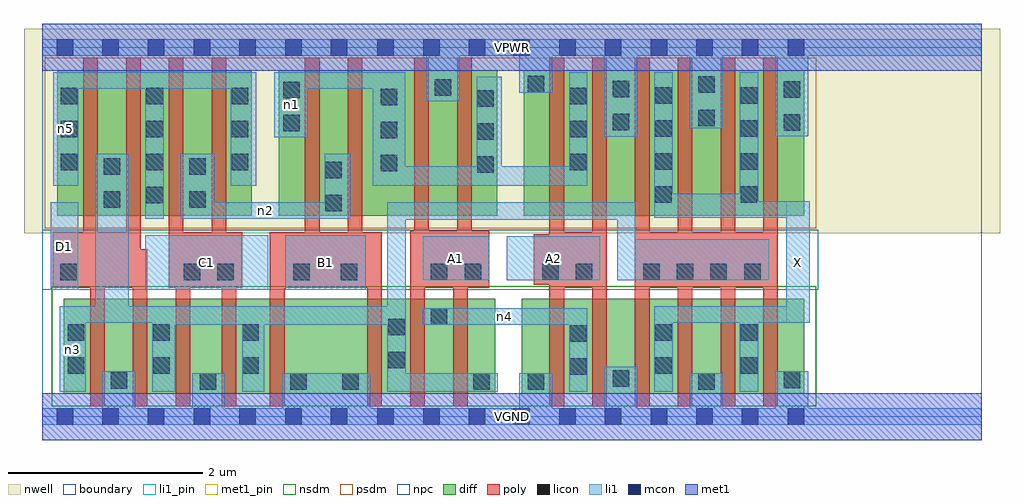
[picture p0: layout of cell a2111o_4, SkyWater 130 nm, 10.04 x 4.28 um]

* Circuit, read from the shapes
.subckt a2111o_4 A1 A2 B1 C1 D1 VGND VPWR X n1 n2 n3 n4 n5
XM1 VGND D1 n3 VSUBS sky130_fd_pr__nfet_01v8 w=0.98 l=0.15 m=2
XM2 VGND C1 n3 VSUBS sky130_fd_pr__nfet_01v8 w=0.98 l=0.15 m=2
XM3 VGND B1 n3 VSUBS sky130_fd_pr__nfet_01v8 w=0.98 l=0.15 m=2
XM4 n4 A1 n3 VSUBS sky130_fd_pr__nfet_01v8 w=0.98 l=0.15 m=2
XM5 n4 A2 VGND VSUBS sky130_fd_pr__nfet_01v8 w=0.98 l=0.15 m=2
XM6 X n3 VGND VSUBS sky130_fd_pr__nfet_01v8 w=0.98 l=0.15 m=4
XM7 n3 D1 n5 n6 sky130_fd_pr__pfet_01v8 w=1.5 l=0.15 m=2
XM8 n2 C1 n5 n6 sky130_fd_pr__pfet_01v8 w=1.5 l=0.15 m=2
XM9 n2 B1 n1 n6 sky130_fd_pr__pfet_01v8 w=1.5 l=0.15 m=2
XM10 VPWR A1 n1 n6 sky130_fd_pr__pfet_01v8 w=1.5 l=0.15 m=2
XM11 n1 A2 VPWR n6 sky130_fd_pr__pfet_01v8 w=1.5 l=0.15 m=2
XM12 X n3 VPWR n6 sky130_fd_pr__pfet_01v8 w=1.5 l=0.15 m=4
.ends

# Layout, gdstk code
import gdstk
lib = gdstk.Library(unit=1e-6, precision=1e-09)
def R(c, l, rs):  # rectangles x0, y0, x1, y1
    for r in rs: c.add(gdstk.rectangle(r[:2], r[2:], *l))
def A(c, l, x, y, w, h, nx, ny, dx, dy):  # array of equal rectangles
    R(c, l, [(x+i*dx, y+j*dy, x+i*dx+w, y+j*dy+h) for i in range(nx) for j in range(ny)])
nwell = (64, 20)
diff = (65, 20)
poly = (66, 20)
licon = (66, 44)
li1_pin = (67, 16)
li1 = (67, 20)
mcon = (67, 44)
met1_pin = (68, 16)
met1 = (68, 20)
nsdm = (93, 44)
psdm = (94, 20)
npc = (95, 20)
boundary = (235, 4)

a2111o_4 = lib.new_cell('a2111o_4')
R(a2111o_4, nwell, [(-0.19,1.885,9.85,3.99), (0,1.885,9.66,3.99)])
R(a2111o_4, diff, [(0.22,0.235,4.66,1.215), (4.93,0.235,7.835,1.215), (0.15,2.065,2.155,3.565), (2.43,2.065,4.68,3.565), (4.95,2.065,7.835,3.565)])
A(a2111o_4, poly, 5.215, 0.105, 0.15, 3.59, 6, 1, 0.44, 0)
A(a2111o_4, poly, 0.42, 1.325, 0.15, 2.37, 4, 1, 0.44, 0)
R(a2111o_4, poly, [(0.49,0.105,0.64,1.905), (0.93,0.105,1.08,1.725), (1.37,0.105,1.52,1.9), (1.845,0.105,1.995,1.9), (2.34,0.105,2.49,1.9), (3.34,0.105,3.49,1.9), (3.785,0.105,3.935,1.915), (4.225,0.105,4.375,1.915), (0.105,1.325,1.01,1.905), (1.3,1.325,2.055,1.9), (2.34,1.325,3.49,1.9), (2.7,1.325,2.85,3.695), (3.14,1.325,3.29,3.695), (3.785,1.325,4.595,1.915), (3.825,1.325,3.975,3.695), (4.265,1.325,4.415,3.695), (5.215,1.325,5.805,1.905), (6.095,1.325,7.565,1.905), (5.055,1.355,5.805,1.875)])
A(a2111o_4, licon, 6.18, 1.405, 0.17, 0.17, 3, 1, 0.345, 0)
A(a2111o_4, licon, 1.07, 2.195, 0.17, 0.17, 1, 4, 0, 0.34)
A(a2111o_4, licon, 6.305, 2.2, 0.17, 0.17, 1, 4, 0, 0.34)
A(a2111o_4, licon, 7.185, 2.2, 0.17, 0.17, 1, 4, 0, 0.34)
A(a2111o_4, licon, 4.47, 2.51, 0.17, 0.17, 1, 3, 0, 0.34)
A(a2111o_4, licon, 3.48, 2.525, 0.17, 0.17, 1, 3, 0, 0.34)
A(a2111o_4, licon, 0.19, 2.535, 0.17, 0.17, 1, 3, 0, 0.34)
A(a2111o_4, licon, 1.945, 2.535, 0.17, 0.17, 1, 3, 0, 0.34)
A(a2111o_4, licon, 5.425, 2.535, 0.17, 0.17, 1, 3, 0, 0.34)
R(a2111o_4, licon, [(1.62,0.275,1.79,0.445), (2.55,0.275,2.72,0.445), (3.085,0.275,3.255,0.445), (4.43,0.275,4.6,0.445), (4.99,0.275,5.16,0.445), (6.745,0.275,6.915,0.445), (0.7,0.285,0.87,0.455), (7.625,0.295,7.795,0.465), (5.865,0.31,6.035,0.48), (5.425,0.43,5.595,0.6), (0.26,0.44,0.43,0.61), (1.14,0.44,1.31,0.61), (2.055,0.44,2.225,0.61), (6.305,0.44,6.475,0.61), (7.185,0.44,7.355,0.61), (3.555,0.5,3.725,0.67), (5.425,0.77,5.595,0.94), (0.26,0.78,0.43,0.95), (1.14,0.78,1.31,0.95), (2.055,0.78,2.225,0.95), (6.305,0.78,6.475,0.95), (7.185,0.78,7.355,0.95), (3.555,0.84,3.725,1.01), (3.995,0.945,4.165,1.115), (0.185,1.405,0.355,1.575), (1.455,1.405,1.625,1.575), (1.8,1.405,1.97,1.575), (2.58,1.405,2.75,1.575), (3.07,1.405,3.24,1.575), (3.995,1.405,4.165,1.575), (4.345,1.405,4.515,1.575), (5.14,1.405,5.31,1.575), (5.485,1.405,5.655,1.575), (7.22,1.405,7.39,1.575), (2.91,2.115,3.08,2.285), (0.63,2.15,0.8,2.32), (1.51,2.15,1.68,2.32), (2.91,2.455,3.08,2.625), (0.63,2.49,0.8,2.66), (1.51,2.49,1.68,2.66), (2.475,2.935,2.645,3.105), (7.625,2.94,7.795,3.11), (5.865,2.945,6.035,3.115), (6.745,2.99,6.915,3.16), (2.475,3.275,2.645,3.445), (7.625,3.28,7.795,3.45), (5.865,3.285,6.035,3.455), (4.035,3.3,4.205,3.47), (6.745,3.33,6.915,3.5), (4.99,3.335,5.16,3.505)])
R(a2111o_4, li1_pin, [(7.65,0.965,7.895,2.215), (0.085,1.305,0.37,2.205), (1.055,1.305,2.32,1.865), (2.5,1.305,3.325,1.865), (3.91,1.405,4.595,1.855), (4.775,1.405,5.74,1.855)])
R(a2111o_4, li1, [(0,-0.085,9.66,0.085), (0.615,-0.085,0.955,0.465), (1.54,-0.085,1.875,0.445), (2.465,-0.085,3.37,0.445), (4.905,-0.085,5.245,0.445), (5.78,-0.085,6.12,0.515), (6.66,-0.085,7,0.445), (7.54,-0.085,7.875,0.465), (0.18,0.255,0.445,1.135), (1.13,0.255,1.365,1.135), (2.055,0.255,2.28,1.135), (3.545,0.255,4.685,0.445), (3.545,0.255,3.735,2.205), (5.42,0.255,5.605,1.115), (6.295,0.255,6.485,1.135), (7.175,0.255,7.365,1.135), (1.13,0.945,3.735,1.135), (3.91,0.945,5.605,1.115), (0.18,0.965,3.735,1.135), (0.545,0.965,0.885,2.705), (6.295,0.965,7.895,1.135), (7.65,0.965,7.895,2.215), (0.085,1.305,0.37,2.205), (1.055,1.305,2.32,1.865), (2.5,1.305,3.325,1.865), (3.91,1.405,4.595,1.855), (4.775,1.405,5.74,1.855), (5.915,1.405,7.475,1.825), (5.915,1.405,6.1,2.205), (3.545,2.025,6.1,2.205), (1.055,2.035,1.25,3.545), (1.425,2.035,3.165,2.205), (1.425,2.035,1.765,2.705), (2.905,2.035,3.165,2.705), (6.295,2.045,7.895,2.215), (6.295,2.045,6.485,3.545), (6.295,2.045,7.365,2.295), (7.175,2.045,7.365,3.545), (0.11,2.375,0.37,3.545), (1.935,2.375,2.2,3.545), (3.395,2.375,5.605,2.575), (3.395,2.375,3.73,3.545), (4.465,2.375,4.725,3.495), (5.42,2.375,5.605,3.545), (2.385,2.875,2.73,3.545), (5.78,2.88,6.12,3.885), (7.54,2.885,7.875,3.885), (6.66,2.965,7,3.885), (3.95,3.245,4.29,3.885), (4.905,3.335,5.245,3.885), (0.11,3.375,2.2,3.545), (2.385,3.375,3.73,3.545), (0,3.715,9.66,3.885)])
A(a2111o_4, mcon, 0.145, -0.085, 0.17, 0.17, 7, 2, 0.47, 3.8)
A(a2111o_4, mcon, 3.445, -0.085, 0.17, 0.17, 3, 2, 0.47, 3.8)
A(a2111o_4, mcon, 4.845, -0.085, 0.17, 0.17, 7, 2, 0.47, 3.8)
R(a2111o_4, met1_pin, [(0,-0.24,9.66,0.24), (0,3.56,9.66,4.04)])
R(a2111o_4, met1, [(0,-0.24,9.66,0.24), (0,3.56,9.66,4.04)])
R(a2111o_4, nsdm, [(0.095,0.11,7.96,1.34)])
R(a2111o_4, psdm, [(0.025,1.94,7.96,3.69)])
R(a2111o_4, npc, [(0,1.305,7.98,1.925)])
R(a2111o_4, boundary, [(0,0,9.66,3.8)])
a2111o_4.add(gdstk.Label('A1', (4.252,1.63), layer=67, texttype=5))
a2111o_4.add(gdstk.Label('A2', (5.257,1.63), layer=67, texttype=5))
a2111o_4.add(gdstk.Label('B1', (2.912,1.585), layer=67, texttype=5))
a2111o_4.add(gdstk.Label('C1', (1.687,1.585), layer=67, texttype=5))
a2111o_4.add(gdstk.Label('D1', (0.227,1.755), layer=67, texttype=5))
a2111o_4.add(gdstk.Label('X', (7.772,1.59), layer=67, texttype=5))
a2111o_4.add(gdstk.Label('n4', (4.757,1.03), layer=67, texttype=5))
a2111o_4.add(gdstk.Label('n3', (0.312,0.695), layer=67, texttype=5))
a2111o_4.add(gdstk.Label('n2', (2.295,2.12), layer=67, texttype=5))
a2111o_4.add(gdstk.Label('n5', (0.24,2.96), layer=67, texttype=5))
a2111o_4.add(gdstk.Label('n1', (2.557,3.21), layer=67, texttype=5))
a2111o_4.add(gdstk.Label('VPWR', (4.83,3.8), layer=68, texttype=5))
a2111o_4.add(gdstk.Label('VGND', (4.83,0), layer=68, texttype=5))
a2111o_4.add(gdstk.Label('A1', (4.252,1.63), layer=67, texttype=16))
a2111o_4.add(gdstk.Label('A2', (5.257,1.63), layer=67, texttype=16))
a2111o_4.add(gdstk.Label('B1', (2.912,1.585), layer=67, texttype=16))
a2111o_4.add(gdstk.Label('C1', (1.687,1.585), layer=67, texttype=16))
a2111o_4.add(gdstk.Label('D1', (0.227,1.755), layer=67, texttype=16))
a2111o_4.add(gdstk.Label('X', (7.772,1.59), layer=67, texttype=16))
a2111o_4.add(gdstk.Label('VPWR', (4.83,3.8), layer=68, texttype=16))
a2111o_4.add(gdstk.Label('VGND', (4.83,0), layer=68, texttype=16))

lib.write_gds('a2111o_4.gds')
